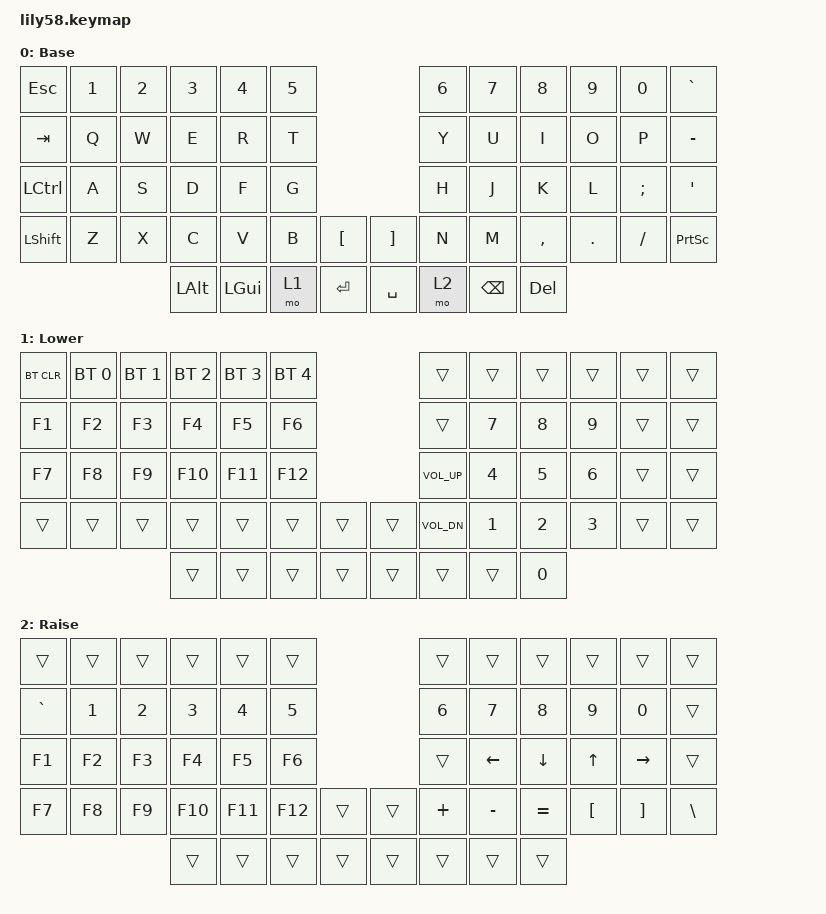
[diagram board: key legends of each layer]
/*
 * Copyright (c) 2020 The ZMK Contributors
 *
 * SPDX-License-Identifier: MIT
 */

#include <behaviors.dtsi>
#include <dt-bindings/zmk/bt.h>
#include <dt-bindings/zmk/keys.h>

/ {
    keymap {
        compatible = "zmk,keymap";

        default_layer {
            // ------------------------------------------------------------------------------------------------------------
            // |  ESC  |  1  |  2  |  3   |  4   |  5   |                   |  6   |  7    |  8    |  9   |   0   |   `   |
            // |  TAB  |  Q  |  W  |  E   |  R   |  T   |                   |  Y   |  U    |  I    |  O   |   P   |   -   |
            // |  CTRL |  A  |  S  |  D   |  F   |  G   |                   |  H   |  J    |  K    |  L   |   ;   |   '   |
            // | SHIFT |  Z  |  X  |  C   |  V   |  B   |   "["  |  |  "]"  |  N   |  M    |  ,    |  .   |   /   | SHIFT |
            //                     | ALT  | GUI  | LOWER|  SPACE |  | ENTER | RAISE| BSPC  | GUI   |

            label = "Base";
            bindings = <
&kp ESC    &kp N1  &kp N2  &kp N3    &kp N4    &kp N5                          &kp N6  &kp N7    &kp N8     &kp N9   &kp N0    &kp GRAVE
&kp TAB    &kp Q   &kp W   &kp E     &kp R     &kp T                           &kp Y   &kp U     &kp I      &kp O    &kp P     &kp MINUS
&kp LCTRL  &kp A   &kp S   &kp D     &kp F     &kp G                           &kp H   &kp J     &kp K      &kp L    &kp SEMI  &kp SQT
&kp LSHFT  &kp Z   &kp X   &kp C     &kp V     &kp B   &kp LBKT     &kp RBKT   &kp N   &kp M     &kp COMMA  &kp DOT  &kp FSLH  &kp PRINTSCREEN
                           &kp LALT  &kp LGUI  &mo 1   &kp ENTER    &kp SPACE  &mo 2   &kp BSPC  &kp DEL
            >;
        };

        lower_layer {
            // ------------------------------------------------------------------------------------------------------------
            // | BTCLR | BT1 | BT2 |  BT3 |  BT4 |  BT5 |                   |      |       |       |      |       |       |
            // |  F1   |  F2 |  F3 |  F4  |  F5  |  F6  |                   |  F7  |  F8   |  F9   |  F10 |  F11  |  F12  |
            // |   `   |  !  |  @  |  #   |  $   |  %   |                   |  ^   |  &    |  *    |  (   |   )   |   ~   |
            // |       |     |     |      |      |      |        |  |       |      |  _    |  +    |  {   |   }   |  "|"  |
            //                     |      |      |      |        |  |       |      |       |       |

            label = "Lower";
            bindings = <
&bt BT_CLR  &bt BT_SEL 0  &bt BT_SEL 1  &bt BT_SEL 2  &bt BT_SEL 3  &bt BT_SEL 4                    &trans        &trans        &trans        &trans        &trans  &trans
&kp F1      &kp F2        &kp F3        &kp F4        &kp F5        &kp F6                          &trans        &kp N7        &kp N8        &kp N9        &trans  &trans
&kp F7      &kp F8        &kp F9        &kp F10       &kp F11       &kp F12                         &kp C_VOL_UP  &kp NUMBER_4  &kp N5        &kp NUMBER_6  &trans  &trans
&trans      &trans        &trans        &trans        &trans        &trans        &trans    &trans  &kp C_VOL_DN  &kp NUMBER_1  &kp NUMBER_2  &kp NUMBER_3  &trans  &trans
                                        &trans        &trans        &trans        &trans    &trans  &trans        &trans        &kp N0
            >;
        };

        raise_layer {
            // ------------------------------------------------------------------------------------------------------------
            // |       |     |     |      |      |      |                   |      |       |       |      |       |       |
            // |   `   |  1  |  2  |  3   |  4   |  5   |                   |  6   |   7   |   8   |  9   |   0   |       |
            // |   F1  |  F2 |  F3 |  F4  |  F5  |  F6  |                   |      |   <-  |   v   |  ^   |  ->   |       |
            // |   F7  |  F8 |  F9 |  F10 |  F11 |  F12 |        |  |       |  +   |   -   |   =   |  [   |   ]   |   \   |
            //                     |      |      |      |        |  |       |      |       |       |

            label = "Raise";
            bindings = <
&trans     &trans  &trans  &trans   &trans   &trans                     &trans    &trans     &trans     &trans    &trans     &trans
&kp GRAVE  &kp N1  &kp N2  &kp N3   &kp N4   &kp N5                     &kp N6    &kp N7     &kp N8     &kp N9    &kp N0     &trans
&kp F1     &kp F2  &kp F3  &kp F4   &kp F5   &kp F6                     &trans    &kp LEFT   &kp DOWN   &kp UP    &kp RIGHT  &trans
&kp F7     &kp F8  &kp F9  &kp F10  &kp F11  &kp F12  &trans    &trans  &kp PLUS  &kp MINUS  &kp EQUAL  &kp LBKT  &kp RBKT   &kp BSLH
                           &trans   &trans   &trans   &trans    &trans  &trans    &trans     &trans
            >;
        };
    };
};
